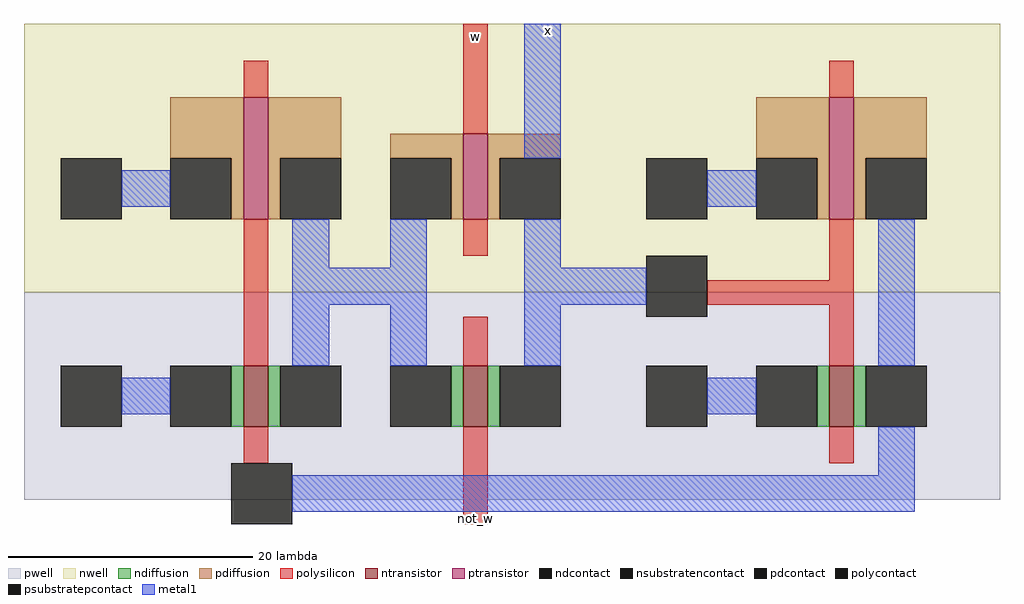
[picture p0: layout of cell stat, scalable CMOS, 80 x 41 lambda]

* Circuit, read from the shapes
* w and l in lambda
.subckt stat GND! Vdd! not_w w x
M1 n1 n2 GND! GND! nfet w=5 l=2
M2 x not_w n1 GND! nfet w=5 l=2
M3 n2 x GND! GND! nfet w=5 l=2
M4 n1 n2 Vdd! Vdd! pfet w=10 l=2
M5 x w n1 Vdd! pfet w=7 l=2
M6 n2 x Vdd! Vdd! pfet w=10 l=2
.ends

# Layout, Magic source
magic
tech scmos
<< nwell >>
rect 8 36 25 39
<< polysilicon >>
rect 12 32 14 39
rect 32 16 42 18
rect 12 -2 14 3
<< polycontact >>
rect 27 15 32 20
rect -7 -2 -2 3
<< metal1 >>
rect 17 28 20 39
rect 1 16 7 19
rect 20 16 27 19
rect 46 2 49 6
rect -2 -1 49 2
use inv  inv_0
transform 1 0 -12 0 1 23
box -12 -23 20 16
use inv  inv_1
transform 1 0 36 0 1 23
box -12 -23 20 16
use trans  trans_0
transform 1 0 9 0 1 22
box -9 -22 17 14
<< labels >>
rlabel polysilicon 12 37 14 39 5 w
rlabel polysilicon 12 -2 14 -1 1 not_w
rlabel metal1 18 38 20 39 5 x
<< end >>

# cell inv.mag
magic
tech scmos
<< nwell >>
rect -12 -6 20 16
<< pwell >>
rect -12 -23 20 -6
<< ntransistor >>
rect 6 -17 8 -12
<< ptransistor >>
rect 6 0 8 10
<< ndiffusion >>
rect 5 -17 6 -12
rect 8 -17 9 -12
<< pdiffusion >>
rect 0 5 6 10
rect 5 0 6 5
rect 8 5 14 10
rect 8 0 9 5
<< ndcontact >>
rect 0 -17 5 -12
rect 9 -17 14 -12
<< pdcontact >>
rect 0 0 5 5
rect 9 0 14 5
<< psubstratepcontact >>
rect -9 -17 -4 -12
<< nsubstratencontact >>
rect -9 0 -4 5
<< polysilicon >>
rect 6 10 8 13
rect 6 -12 8 0
rect 6 -20 8 -17
<< metal1 >>
rect -4 1 0 4
rect 10 -12 13 0
rect -4 -16 0 -13
<< labels >>
rlabel metal1 -3 2 -2 3 1 Vdd!
rlabel metal1 -3 -15 -2 -14 1 GND!
<< end >>

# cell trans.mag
magic
tech scmos
<< nwell >>
rect -9 -5 17 14
<< pwell >>
rect -9 -22 17 -5
<< ntransistor >>
rect 3 -16 5 -11
<< ptransistor >>
rect 3 1 5 8
<< ndiffusion >>
rect 2 -16 3 -11
rect 5 -16 6 -11
<< pdiffusion >>
rect -3 6 3 8
rect 2 1 3 6
rect 5 6 11 8
rect 5 1 6 6
<< ndcontact >>
rect -3 -16 2 -11
rect 6 -16 11 -11
<< pdcontact >>
rect -3 1 2 6
rect 6 1 11 6
<< polysilicon >>
rect 3 8 5 11
rect 3 -2 5 1
rect 3 -11 5 -7
rect 3 -20 5 -16
<< metal1 >>
rect -3 -11 0 1
rect 8 -11 11 1
<< end >>
